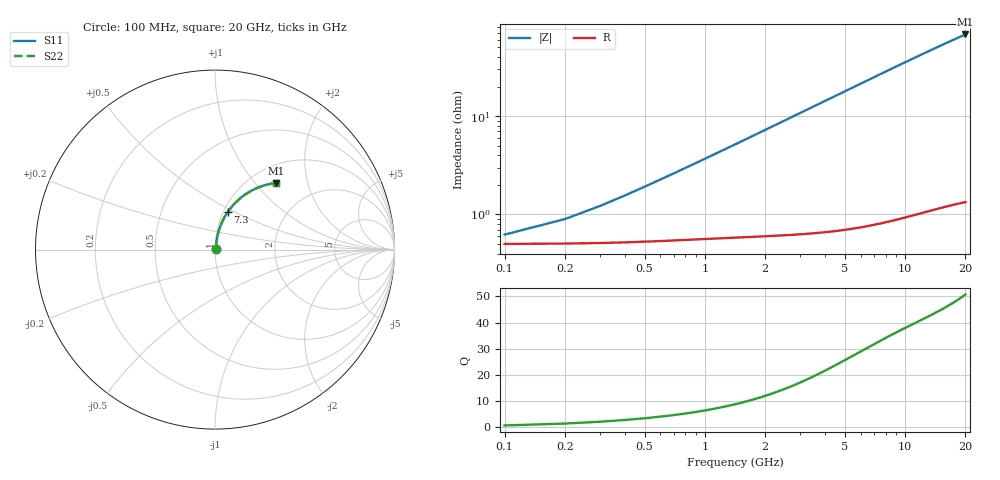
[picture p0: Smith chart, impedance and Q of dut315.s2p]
! Touchstone file exported from HFSS 2026.1.0
!  File:  C:/ffzhzh/LocalFiles/Ansys_Project_Files/temp_train_TMRDL_315_1783003385_55676.aedt
!  Generated:  10:44:32 PM Jul  2, 2026
!  Design:  TMRDL
!  Project:  temp_train_TMRDL_315_1783003385_55676
! Variables:
!  h_bsmrdl = 2um
!  h_ox = 20um
!  h_rdl = 5um
!  h_sub = 80um
!  h_tmrdl = 2.78um
!  h_tsv = 80um
!  h_via = 3um
!  l_bsmrdl = 300um
!  l_sub = 877.09um
!  l_tmrdl = 477.09um
!  m_sub = 200um
!  pitch = 59.16um
!  r_tsv = 6um
!  s_tmrdl = 10um
!  w_bsmrdl = 18um
!  w_sub = 500um
!  w_tmrdl = 12.43um
!  x_tsv_center1 = 483.305um
!  x_tsv_center2 = 801.305um
!  x_tsv_center3 = 1290.825um
!  x_tsv_center4 = 1608.825um
!  x_tsv_center5 = 2098.345um
!  x_tsv_center6 = 2416.345um
# GHz S MA R 50.000000
! Terminal data exported
! Port[1] = TM_RDL1_1_T1
! Port[2] = TM_RDL1_1_T2
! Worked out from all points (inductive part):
!   200 points, 100 MHz to 20 GHz, reference 50 ohm
!   read as one part in series: L = 583 pH near 500 MHz
!   highest Q = 50.7 at 20 GHz (marker M1), where L = 539 pH
!   S11 on the Smith chart (normalised r, x): 100 MHz: 1.01, +0.01; 7.3 GHz: 1.05, +0.46; 20 GHz: 1.30, +1.29
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0.1  0.005946 32.7  0.995 -0.2  0.995 -0.2  0.005946 32.7
! Gamma 0 0 0 0
! Port Impedance 50 0 50 0
0.2  0.008183 51.6  0.9949 -0.5  0.9949 -0.5  0.008183 51.6
0.3  0.01092 61.5  0.9949 -0.7  0.9949 -0.7  0.01092 61.5
0.4  0.01384 67.1  0.9947 -0.9  0.9947 -0.9  0.01384 67.1
0.5  0.01683 70.6  0.9946 -1.2  0.9946 -1.2  0.01683 70.6
0.6  0.01986 73.0  0.9945 -1.4  0.9945 -1.4  0.01986 73.0
0.8  0.02595 75.9  0.9942 -1.9  0.9942 -1.9  0.02595 75.9
1.1  0.03511 78.2  0.9938 -2.6  0.9938 -2.6  0.03511 78.2
1.5  0.04734 79.5  0.9931 -3.5  0.9931 -3.5  0.04735 79.5
1.8  0.05653 79.8  0.9925 -4.2  0.9925 -4.2  0.05653 79.8
2.1  0.06571 79.9  0.9919 -4.9  0.9919 -4.9  0.06571 79.9
2.7  0.08404 79.6  0.9903 -6.2  0.9903 -6.2  0.08404 79.6
3.5  0.1083 78.6  0.9878 -8.1  0.9878 -8.1  0.1083 78.6
4.2  0.1294 77.4  0.985 -9.7  0.985 -9.7  0.1294 77.4
5  0.1531 76.0  0.9814 -11.5  0.9814 -11.5  0.1531 76.0
6.8  0.2051 72.4  0.9712 -15.5  0.9712 -15.5  0.2051 72.4
7.3  0.2191 71.4  0.968 -16.6  0.968 -16.6  0.2191 71.4
8.6  0.2547 68.8  0.9588 -19.4  0.9588 -19.4  0.2547 68.8
10.1  0.294 65.8  0.9469 -22.5  0.9469 -22.5  0.294 65.8
13.4  0.3734 59.3  0.9176 -29.1  0.9176 -29.1  0.3734 59.3
16.7  0.4426 53.3  0.8858 -35.3  0.8858 -35.3  0.4426 53.3
20  0.5021 47.7  0.8533 -41.0  0.8533 -41.0  0.5021 47.6
